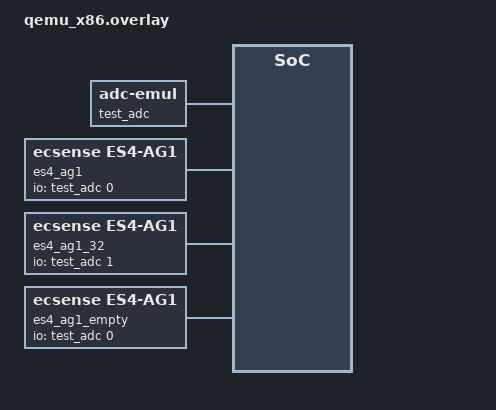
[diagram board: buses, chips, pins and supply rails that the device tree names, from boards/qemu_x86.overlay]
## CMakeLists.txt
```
# Copyright (c) 2026 FoBE Studio
# SPDX-License-Identifier: Apache-2.0

cmake_minimum_required(VERSION 3.20.0)

find_package(Zephyr REQUIRED HINTS $ENV{ZEPHYR_BASE})
project(es4_ag1_test)

target_sources(app PRIVATE src/main.c)
```

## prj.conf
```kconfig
CONFIG_ZTEST=y
CONFIG_ASSERT=y

CONFIG_LOG=y
CONFIG_LOG_MODE_MINIMAL=y

CONFIG_ADC=y
CONFIG_ADC_EMUL=y
CONFIG_SENSOR=y
CONFIG_ES4_AG1=y
```

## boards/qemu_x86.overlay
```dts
/*
 * Copyright (c) 2026 FoBE Studio
 *
 * SPDX-License-Identifier: Apache-2.0
 */

#include <zephyr/dt-bindings/adc/adc.h>

/ {
	test_adc: adc {
		compatible = "zephyr,adc-emul";
		nchannels = <2>;
		ref-internal-mv = <3300>;
		#io-channel-cells = <1>;
		status = "okay";

		#address-cells = <1>;
		#size-cells = <0>;

		channel@0 {
			reg = <0>;
			zephyr,gain = "ADC_GAIN_1";
			zephyr,reference = "ADC_REF_INTERNAL";
			zephyr,vref-mv = <3300>;
			zephyr,acquisition-time = <ADC_ACQ_TIME_DEFAULT>;
			zephyr,resolution = <12>;
		};

		channel@1 {
			reg = <1>;
			zephyr,gain = "ADC_GAIN_1";
			zephyr,reference = "ADC_REF_INTERNAL";
			zephyr,vref-mv = <3300>;
			zephyr,acquisition-time = <ADC_ACQ_TIME_DEFAULT>;
			zephyr,resolution = <16>;
		};
	};

	es4_ag1: es4_ag1 {
		compatible = "ecsense,es4-ag1";
		io-channels = <&test_adc 0>;
		zero-offset-microvolt = <100000>;
		transimpedance-ohms = <1000>;
		sensitivity-nanoamp-per-ppm = <100>;
		averaging-samples = <1>;
	};

	es4_ag1_32: es4_ag1_32 {
		compatible = "ecsense,es4-ag1";
		io-channels = <&test_adc 1>;
		zero-offset-microvolt = <100000>;
		transimpedance-ohms = <1000>;
		sensitivity-nanoamp-per-ppm = <100>;
		averaging-samples = <1>;
	};

	es4_ag1_empty: es4_ag1_empty {
		compatible = "ecsense,es4-ag1";
		io-channels = <&test_adc 0>;
		zero-offset-microvolt = <100000>;
		transimpedance-ohms = <1000>;
		sensitivity-nanoamp-per-ppm = <100>;
		averaging-samples = <1>;
	};
};
```

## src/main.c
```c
/*
 * Copyright (c) 2026 FoBE Studio
 *
 * SPDX-License-Identifier: Apache-2.0
 */

#include <zephyr/device.h>
#include <zephyr/drivers/adc/adc_emul.h>
#include <zephyr/drivers/sensor.h>
#include <drivers/sensor/es4_ag1.h>
#include <zephyr/ztest.h>

#define ADC_NODE DT_NODELABEL(test_adc)
#define ES4_NODE DT_NODELABEL(es4_ag1)
#define ES4_32_NODE DT_NODELABEL(es4_ag1_32)
#define ES4_EMPTY_NODE DT_NODELABEL(es4_ag1_empty)

static const struct device *const adc_dev = DEVICE_DT_GET(ADC_NODE);
static const struct device *const es4_dev = DEVICE_DT_GET(ES4_NODE);
static const struct device *const es4_32_dev = DEVICE_DT_GET(ES4_32_NODE);
static const struct device *const es4_empty_dev = DEVICE_DT_GET(ES4_EMPTY_NODE);

static void *es4_setup(void)
{
	zassert_true(device_is_ready(adc_dev));
	zassert_true(device_is_ready(es4_dev));
	zassert_true(device_is_ready(es4_32_dev));
	zassert_true(device_is_ready(es4_empty_dev));

	return NULL;
}

static void es4_before(void *fixture)
{
	struct sensor_value zero_offset = {.val1 = 100000, .val2 = 0};
	struct sensor_value transimpedance = {.val1 = 1000, .val2 = 0};
	struct sensor_value sensitivity = {.val1 = 100, .val2 = 0};

	ARG_UNUSED(fixture);

	zassert_ok(sensor_attr_set(es4_dev, SENSOR_CHAN_VOC,
				   SENSOR_ATTR_ES4_AG1_ZERO_OFFSET, &zero_offset));
	zassert_ok(sensor_attr_set(es4_dev, SENSOR_CHAN_VOC,
				   SENSOR_ATTR_ES4_AG1_TRANSIMPEDANCE, &transimpedance));
	zassert_ok(sensor_attr_set(es4_dev, SENSOR_CHAN_VOC,
				   SENSOR_ATTR_ES4_AG1_SENSITIVITY, &sensitivity));
	zassert_ok(sensor_attr_set(es4_32_dev, SENSOR_CHAN_VOC,
				   SENSOR_ATTR_ES4_AG1_ZERO_OFFSET, &zero_offset));
	zassert_ok(sensor_attr_set(es4_32_dev, SENSOR_CHAN_VOC,
				   SENSOR_ATTR_ES4_AG1_TRANSIMPEDANCE, &transimpedance));
	zassert_ok(sensor_attr_set(es4_32_dev, SENSOR_CHAN_VOC,
				   SENSOR_ATTR_ES4_AG1_SENSITIVITY, &sensitivity));
}

ZTEST(es4_ag1, test_channel_get_before_fetch_returns_eagain)
{
	struct sensor_value val;

	zassert_equal(sensor_channel_get(es4_empty_dev, SENSOR_CHAN_VOC, &val), -EAGAIN);
}

ZTEST(es4_ag1, test_voc_conversion_and_voltage)
{
	struct sensor_value val;
	int64_t voc_micro;
	int64_t voltage_micro;

	zassert_ok(adc_emul_const_value_set(adc_dev, 0, 200));
	zassert_ok(sensor_sample_fetch(es4_dev));

	zassert_ok(sensor_channel_get(es4_dev, SENSOR_CHAN_VOLTAGE, &val));
	voltage_micro = sensor_value_to_micro(&val);
	zassert_within(voltage_micro, 200000, 1000);

	zassert_ok(sensor_channel_get(es4_dev, SENSOR_CHAN_VOC, &val));
	voc_micro = sensor_value_to_micro(&val);
	zassert_true(voc_micro > 900000000LL && voc_micro < 1100000000LL,
		     "voc_micro=%lld", (long long)voc_micro);
}

ZTEST(es4_ag1, test_attr_validation)
{
	struct sensor_value invalid_fraction = {.val1 = 1, .val2 = 1};
	struct sensor_value invalid_zero = {.val1 = 0, .val2 = 0};
	struct sensor_value offset = {.val1 = 50000, .val2 = 0};

	zassert_equal(sensor_attr_set(es4_dev, SENSOR_CHAN_VOC,
				      SENSOR_ATTR_ES4_AG1_ZERO_OFFSET, NULL),
		      -EINVAL);
	zassert_equal(sensor_attr_set(es4_dev, SENSOR_CHAN_VOC,
				      SENSOR_ATTR_ES4_AG1_ZERO_OFFSET,
				      &invalid_fraction),
		      -EINVAL);
	zassert_equal(sensor_attr_set(es4_dev, SENSOR_CHAN_VOC,
				      SENSOR_ATTR_ES4_AG1_TRANSIMPEDANCE,
				      &invalid_zero),
		      -EINVAL);
	zassert_ok(sensor_attr_set(es4_dev, SENSOR_CHAN_VOC,
				   SENSOR_ATTR_ES4_AG1_ZERO_OFFSET, &offset));
}

ZTEST(es4_ag1, test_adc_16_bit_resolution_path)
{
	struct sensor_value val;
	int64_t voltage_micro;

	zassert_ok(adc_emul_const_value_set(adc_dev, 1, 250));
	zassert_ok(sensor_sample_fetch(es4_32_dev));
	zassert_ok(sensor_channel_get(es4_32_dev, SENSOR_CHAN_VOLTAGE, &val));
	voltage_micro = sensor_value_to_micro(&val);
	zassert_within(voltage_micro, 250000, 1000);
}

ZTEST_SUITE(es4_ag1, NULL, es4_setup, es4_before, NULL, NULL);
```
